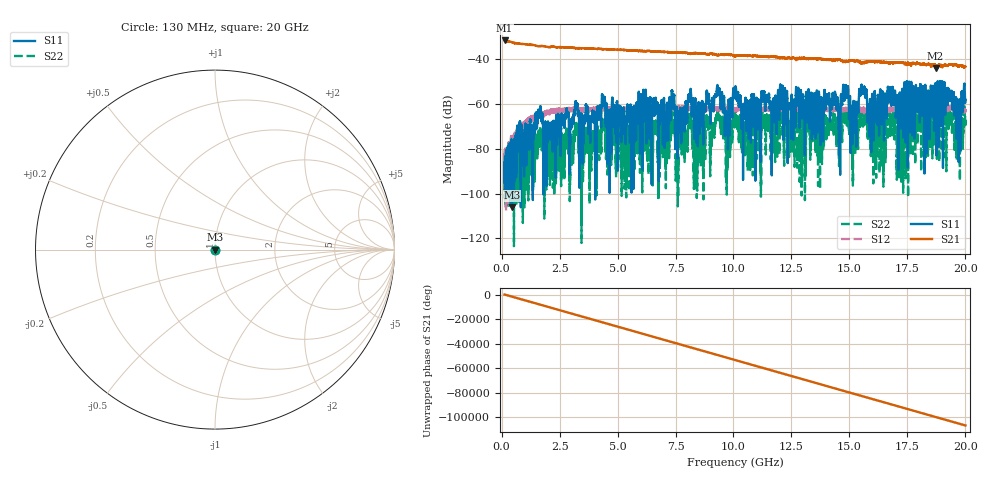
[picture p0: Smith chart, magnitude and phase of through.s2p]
!Created with skrf (http://scikit-rf.org).
# GHz S RI R 50.0
!freq ReS11 ImS11 ReS21 ImS21 ReS12 ImS12 ReS22 ImS22
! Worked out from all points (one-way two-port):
!   20013 points, 130 MHz to 20 GHz, reference 50 ohm
!   highest |S21| = -31.70 dB at 130 MHz (marker M1); lowest = -43.9 dB at 18.72 GHz (marker M2)
!   lowest |S11| = -106.1 dB at 451 MHz (marker M3), VSWR 1.00, Z = 50 + j0.000363 ohm
!   |S11| at or under -10 dB: start of sweep to end of sweep
!   |S22| runs from -123.4 to -60.4 dB; largest |S21 - S12| = 0.026
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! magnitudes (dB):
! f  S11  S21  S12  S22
! 130 MHz  -86.6  -31.7  -84.0  -88.9
! 451 MHz  -106.1  -32.5  -77.5  -95.1
! 1.643 GHz  -63.9  -34.2  -65.4  -73.3
! 1.891 GHz  -72.6  -34.4  -64.2  -86.9
! 3.219 GHz  -60.9  -35.1  -62.1  -69.5
! 3.442 GHz  -65.2  -35.1  -62.1  -83.4
! 4.393 GHz  -59.2  -35.6  -62.3  -70.9
! 4.647 GHz  -69.8  -35.6  -61.8  -75.2
! 6.754 GHz  -65.9  -36.7  -61.9  -81.9
! 7.357 GHz  -54.2  -37.2  -61.9  -63.5
! 7.674 GHz  -69.9  -37.1  -62.1  -73.3
! 8.142 GHz  -53.9  -37.7  -61.8  -64.4
! 8.47 GHz  -68.3  -37.4  -61.7  -80.4
! 9.317 GHz  -52.9  -38.5  -62.2  -63.1
! 9.754 GHz  -70.8  -38.1  -62.5  -74.3
! 10.06 GHz  -53.8  -38.8  -62.7  -65.2
! 10.41 GHz  -77.1  -38.4  -62.0  -78.0
! 13.38 GHz  -71.3  -39.8  -61.9  -70.3
! 16.69 GHz  -55.8  -41.8  -62.9  -63.5
! 18.72 GHz  -51.4  -43.9  -63.5  -62.6
! 19.74 GHz  -58.5  -43.1  -62.6  -68.8
! 20 GHz  -58.1  -43.3  -63.3  -69.2
